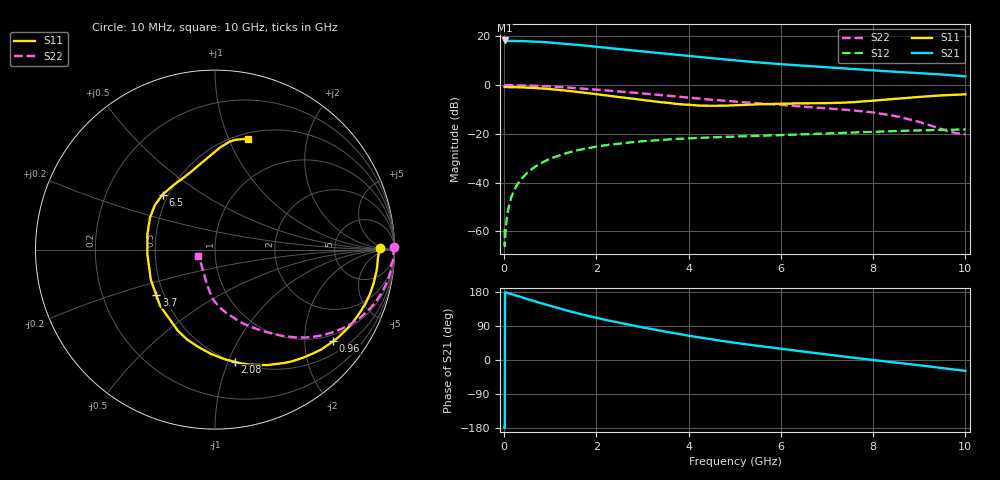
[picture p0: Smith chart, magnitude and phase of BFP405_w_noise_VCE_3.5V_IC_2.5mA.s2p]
! Infineon Technologies  Discrete & RF Semiconductors
! BFP405
! VCE =  3.5 V,  IC =  2.5 mA
! Common Emitter S-Parameters:  Jan 2016
# GHz  S  MA  R  50
!  f  S11  S21  S12  S22
! GHz  MAG  ANG  MAG  ANG  MAG  ANG  MAG  ANG
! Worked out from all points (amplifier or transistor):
!   233 points, 10 MHz to 10 GHz, reference 50 ohm
!   highest |S21| = 18.3 dB at 10 MHz (marker M1)
!   |S21| within 3 dB of that: start of sweep to 2.211 GHz
!   unconditionally stable (mu >= 1): 14.57 MHz to 15.5 MHz; 4.169 GHz to end of sweep
!   at 200 MHz: K = 0.07, MSG = 31.0 dB, |S12| = -43.9 dB
!   at 1.74 GHz: K = 0.36, MSG = 21.2 dB, |S12| = -26.1 dB
!   at 10 GHz: K = 1.61, MAG = 6.3 dB, |S12| = -18.2 dB
!   lowest NFmin = 0.94 dB at 900 MHz
!   S11 on the Smith chart (normalised r, x): 10 MHz: 23, +3; 960 MHz: 0.81, -2.70; 2.08 GHz: 0.50, -1.06; 3.7 GHz: 0.45, -0.28; 6.5 GHz: 0.47, +0.35; 10 GHz: 0.56, +1.18
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0.01  0.9179 0.6  8.205 -177.7  0.0011 -45.4  1 0.9
0.015  0.9171 -0.0  8.133 -179.5  0.0005 -6.6  0.9958 0.6
0.02  0.9164 -0.7  8.069 178.6  0.0007 73.3  0.9916 0.2
0.055  0.9096 -2.3  8.021 177.8  0.0018 77.2  0.9949 -0.7
0.105  0.9084 -4.3  8.05 175.6  0.0034 83.8  0.9954 -1.9
0.28  0.904 -11.0  8.016 169.3  0.009 83.0  0.9878 -5.4
0.5  0.8907 -19.8  7.904 161.0  0.0159 79.3  0.9787 -9.6
0.8  0.8559 -31.6  7.651 149.9  0.0251 73.7  0.9557 -15.3
0.96  0.8328 -37.8  7.475 144.2  0.0297 70.5  0.9398 -18.2
1.32  0.7728 -51.6  7.022 131.9  0.0395 63.7  0.8982 -24.4
1.68  0.7078 -65.1  6.532 120.6  0.0481 57.3  0.8505 -30.1
2.08  0.6346 -80.1  5.974 109.2  0.0562 51.0  0.7962 -35.6
2.62  0.5489 -100.1  5.306 95.1  0.0653 43.4  0.7239 -42.3
3  0.4972 -114.6  4.895 86.0  0.0707 38.7  0.674 -46.7
3.4  0.4451 -130.0  4.492 77.1  0.0754 34.1  0.6219 -50.9
3.7  0.4143 -142.0  4.214 70.7  0.0784 31.0  0.5856 -54.0
4.5  0.3777 -175.8  3.564 54.3  0.085 23.7  0.5011 -62.2
5.1  0.3883 164.1  3.148 43.8  0.0885 19.4  0.4513 -67.8
6.5  0.4238 133.6  2.493 22.0  0.0979 12.0  0.3629 -79.3
6.8  0.424 126.9  2.378 17.5  0.1004 10.4  0.3455 -81.7
8.4  0.5156 94.2  1.891 -5.6  0.1138 0.5  0.2387 -96.9
10  0.6448 73.5  1.507 -28.7  0.1235 -9.0  0.0982 -160.3
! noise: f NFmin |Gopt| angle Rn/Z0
0.9  0.94  0.53  14  0.37
1.8  1.25  0.42  26  0.35
2.4  1.45  0.36  35  0.34
3  1.48  0.34  51  0.32
4  1.69  0.22  76  0.25
5  2.05  0.17  117  0.21
